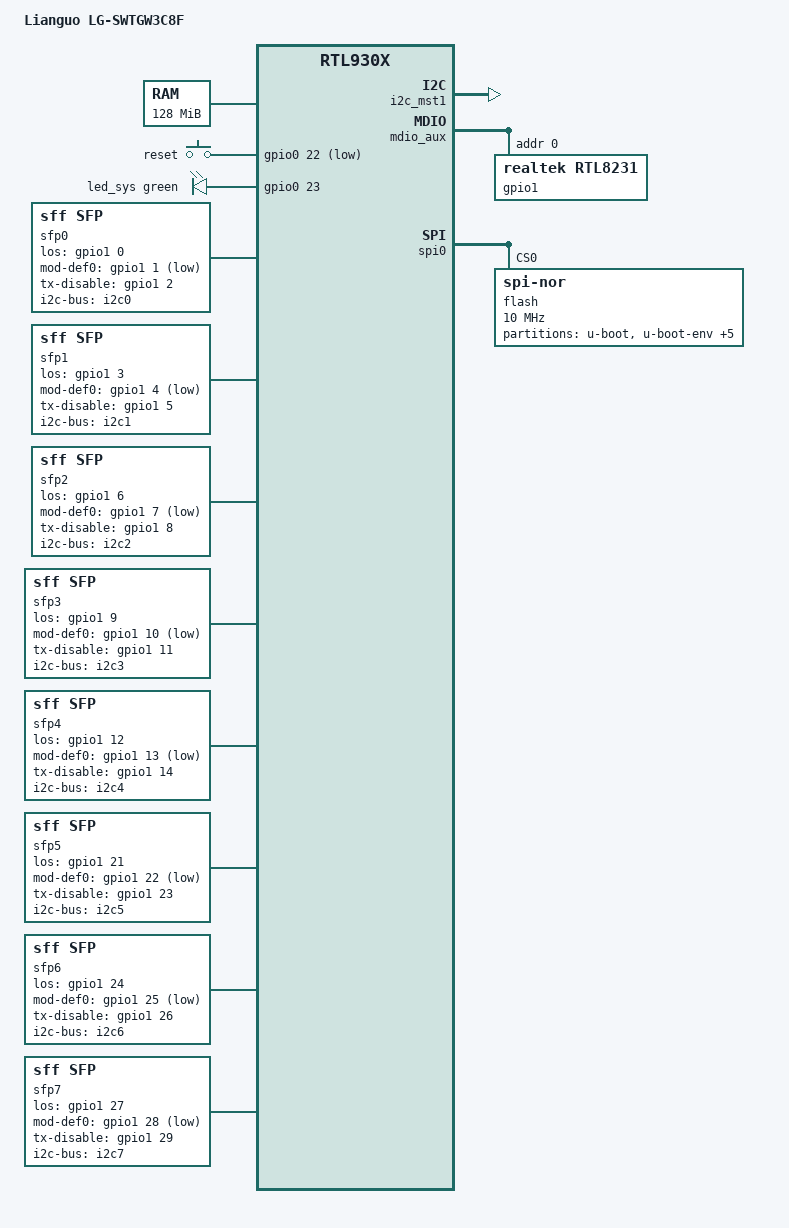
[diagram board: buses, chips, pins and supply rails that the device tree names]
// SPDX-License-Identifier: GPL-2.0-or-later

#include "rtl930x.dtsi"

#include <dt-bindings/input/input.h>
#include <dt-bindings/gpio/gpio.h>
#include <dt-bindings/leds/common.h>

/ {
	compatible = "lianguo,lg-swtgw3c8f", "realtek,rtl930x-soc";
	model = "Lianguo LG-SWTGW3C8F";

	memory@0 {
		device_type = "memory";
		reg = <0x00000000 0x08000000>;
	};

	aliases {
		label-mac-device = &ethernet0;
		led-boot = &led_sys;
		led-failsafe = &led_sys;
		led-running = &led_sys;
		led-upgrade = &led_sys;
	};

	chosen {
		stdout-path = "serial0:115200n8";
	};

	keys {
		compatible = "gpio-keys";

		button-reset {
			label = "reset";
			gpios = <&gpio0 22 GPIO_ACTIVE_LOW>;
			linux,code = <KEY_RESTART>;
		};
	};

	leds {
		compatible = "gpio-leds";

		led_sys: led-0 {
			gpios = <&gpio0 23 GPIO_ACTIVE_HIGH>;
			color = <LED_COLOR_ID_GREEN>;
			function = LED_FUNCTION_STATUS;
		};
	};

	led_set {
		compatible = "realtek,rtl9300-leds";
		realtek,led-mode = <RTL93XX_LED_MODE_SINGLE_COLOR_SCAN>;

		led_set0 = <RTL93XX_LED_SET_NONE
			    (RTL93XX_LED_SET_2P5G | RTL93XX_LED_SET_1G | RTL93XX_LED_SET_LINK |
			     RTL93XX_LED_SET_ACT)
			    (RTL93XX_LED_SET_10G | RTL93XX_LED_SET_LINK | RTL93XX_LED_SET_ACT)>;
	};

	sfp0: sfp-p1 {
		compatible = "sff,sfp";
		i2c-bus = <&i2c0>;
		los-gpio = <&gpio1 0 GPIO_ACTIVE_HIGH>;
		mod-def0-gpio = <&gpio1 1 GPIO_ACTIVE_LOW>;
		tx-disable-gpio = <&gpio1 2 GPIO_ACTIVE_HIGH>;
		maximum-power-milliwatt = <2900>;
		#thermal-sensor-cells = <0>;
	};

	sfp1: sfp-p2 {
		compatible = "sff,sfp";
		i2c-bus = <&i2c1>;
		los-gpio = <&gpio1 3 GPIO_ACTIVE_HIGH>;
		mod-def0-gpio = <&gpio1 4 GPIO_ACTIVE_LOW>;
		tx-disable-gpio = <&gpio1 5 GPIO_ACTIVE_HIGH>;
		maximum-power-milliwatt = <1500>;
		#thermal-sensor-cells = <0>;
	};

	sfp2: sfp-p3 {
		compatible = "sff,sfp";
		i2c-bus = <&i2c2>;
		los-gpio = <&gpio1 6 GPIO_ACTIVE_HIGH>;
		mod-def0-gpio = <&gpio1 7 GPIO_ACTIVE_LOW>;
		tx-disable-gpio = <&gpio1 8 GPIO_ACTIVE_HIGH>;
		maximum-power-milliwatt = <1500>;
		#thermal-sensor-cells = <0>;
	};

	sfp3: sfp-p4 {
		compatible = "sff,sfp";
		i2c-bus = <&i2c3>;
		los-gpio = <&gpio1 9 GPIO_ACTIVE_HIGH>;
		mod-def0-gpio = <&gpio1 10 GPIO_ACTIVE_LOW>;
		tx-disable-gpio = <&gpio1 11 GPIO_ACTIVE_HIGH>;
		maximum-power-milliwatt = <2000>;
		#thermal-sensor-cells = <0>;
	};

	sfp4: sfp-p5 {
		compatible = "sff,sfp";
		i2c-bus = <&i2c4>;
		los-gpio = <&gpio1 12 GPIO_ACTIVE_HIGH>;
		mod-def0-gpio = <&gpio1 13 GPIO_ACTIVE_LOW>;
		tx-disable-gpio = <&gpio1 14 GPIO_ACTIVE_HIGH>;
		maximum-power-milliwatt = <2000>;
		#thermal-sensor-cells = <0>;
	};

	sfp5: sfp-p6 {
		compatible = "sff,sfp";
		i2c-bus = <&i2c5>;
		los-gpio = <&gpio1 21 GPIO_ACTIVE_HIGH>;
		mod-def0-gpio = <&gpio1 22 GPIO_ACTIVE_LOW>;
		tx-disable-gpio = <&gpio1 23 GPIO_ACTIVE_HIGH>;
		maximum-power-milliwatt = <1500>;
		#thermal-sensor-cells = <0>;
	};

	sfp6: sfp-p7 {
		compatible = "sff,sfp";
		i2c-bus = <&i2c6>;
		los-gpio = <&gpio1 24 GPIO_ACTIVE_HIGH>;
		mod-def0-gpio = <&gpio1 25 GPIO_ACTIVE_LOW>;
		tx-disable-gpio = <&gpio1 26 GPIO_ACTIVE_HIGH>;
		maximum-power-milliwatt = <1500>;
		#thermal-sensor-cells = <0>;
	};

	sfp7: sfp-p8 {
		compatible = "sff,sfp";
		i2c-bus = <&i2c7>;
		los-gpio = <&gpio1 27 GPIO_ACTIVE_HIGH>;
		mod-def0-gpio = <&gpio1 28 GPIO_ACTIVE_LOW>;
		tx-disable-gpio = <&gpio1 29 GPIO_ACTIVE_HIGH>;
		maximum-power-milliwatt = <2900>;
		#thermal-sensor-cells = <0>;
	};
};

&i2c_mst1 {
	status = "okay";

	/* SDA0-7 correspond to GPIO9-16 */
	i2c0: i2c@0 {
		reg = <0>;
		clock-frequency = <50000>;
	};
	i2c1: i2c@1 {
		reg = <1>;
		clock-frequency = <50000>;
	};
	i2c2: i2c@2 {
		reg = <2>;
		clock-frequency = <50000>;
	};
	i2c3: i2c@3 {
		reg = <3>;
		clock-frequency = <50000>;
	};
	i2c4: i2c@4 {
		reg = <4>;
		clock-frequency = <50000>;
	};
	i2c5: i2c@5 {
		reg = <5>;
		clock-frequency = <50000>;
	};
	i2c6: i2c@6 {
		reg = <6>;
		clock-frequency = <50000>;
	};
	i2c7: i2c@7 {
		reg = <7>;
		clock-frequency = <50000>;
	};
};

&mdio_aux {
	status = "okay";

	gpio1: gpio@0 {
		compatible = "realtek,rtl8231";
		reg = <0>;

		gpio-controller;
		#gpio-cells = <2>;
		gpio-ranges = <&gpio1 0 0 37>;

		led-controller {
			compatible = "realtek,rtl8231-leds";
			status = "disabled";
		};
	};
};

&spi0 {
	status = "okay";

	flash@0 {
		compatible = "jedec,spi-nor";
		reg = <0>;
		spi-max-frequency = <10000000>;

		partitions {
			compatible = "fixed-partitions";
			#address-cells = <1>;
			#size-cells = <1>;

			partition@0 {
				label = "u-boot";
				reg = <0x0 0xe0000>;
				read-only;
			};

			partition@e0000 {
				label = "u-boot-env";
				reg = <0xe0000 0x10000>;

				nvmem-layout {
					compatible = "u-boot,env";

					macaddr_ubootenv_ethaddr: ethaddr {
						#nvmem-cell-cells = <1>;
					};
				};
			};

			partition@f0000 {
				label = "u-boot-env2";
				reg = <0xf0000 0x10000>;
				read-only;
			};

			partition@100000 {
				label = "jffs";
				reg = <0x100000 0x100000>;
			};

			partition@200000 {
				label = "jffs2";
				reg = <0x200000 0x100000>;
			};

			/* stock RUNTIME1, where the vendor boota loads from */
			partition@300000 {
				compatible = "openwrt,uimage", "denx,uimage";
				label = "firmware";
				reg = <0x300000 0xc00000>;
				openwrt,ih-magic = <0x93000000>;
			};

			partition@f00000 {
				label = "oeminfo";
				reg = <0xf00000 0x100000>;
				read-only;
			};
		};
	};
};

&switch0 {
	ethernet-ports {
		#address-cells = <1>;
		#size-cells = <0>;

		SWITCH_PORT_SFP(0, 1, 2, 0, 0)
		SWITCH_PORT_SFP(8, 2, 3, 0, 1)
		SWITCH_PORT_SFP(16, 3, 4, 0, 2)
		SWITCH_PORT_SFP(20, 4, 5, 0, 3)
		SWITCH_PORT_SFP(24, 5, 6, 0, 4)
		SWITCH_PORT_SFP(25, 6, 7, 0, 5)
		SWITCH_PORT_SFP(26, 7, 8, 0, 6)
		SWITCH_PORT_SFP(27, 8, 9, 0, 7)

		port@1c {
			ethernet = <&ethernet0>;
			reg = <28>;
			phy-mode = "internal";

			fixed-link {
				speed = <1000>;
				full-duplex;
			};
		};
	};
};

&thermal_zones {
	sfp-thermal {
		polling-delay-passive = <10000>;
		polling-delay = <10000>;
		thermal-sensors = <&sfp0>, <&sfp1>, <&sfp2>, <&sfp3>, <&sfp4>, <&sfp5>, <&sfp6>, <&sfp7>;
		trips {
			sfp-crit {
				temperature = <110000>;
				hysteresis = <1000>;
				type = "critical";
			};
		};
	};
};

&ethernet0 {
	nvmem-cells = <&macaddr_ubootenv_ethaddr 0>;
	nvmem-cell-names = "mac-address";
};
